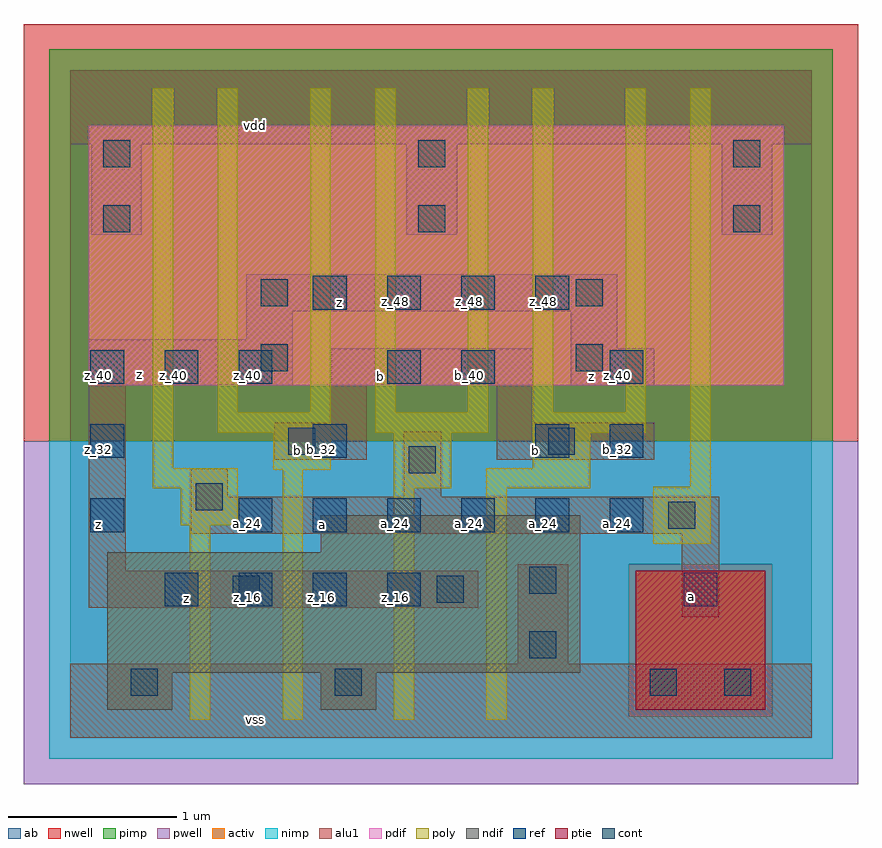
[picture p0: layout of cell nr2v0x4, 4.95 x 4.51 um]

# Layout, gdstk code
import gdstk
lib = gdstk.Library(unit=1e-6, precision=2.5e-09)
def R(c, l, rs):  # rectangles x0, y0, x1, y1
    for r in rs: c.add(gdstk.rectangle(r[:2], r[2:], *l))
def A(c, l, x, y, w, h, nx, ny, dx, dy):  # array of equal rectangles
    R(c, l, [(x+i*dx, y+j*dy, x+i*dx+w, y+j*dy+h) for i in range(nx) for j in range(ny)])
ndif = (3, 0)
pdif = (4, 0)
ptie = (6, 0)
ref = (24, 0)
cont = (25, 0)
pwell = (41, 0)
nwell = (42, 0)
activ = (43, 0)
pimp = (44, 0)
nimp = (45, 0)
poly = (46, 0)
alu1 = (49, 0)
ab = (63, 0)

nr2v0x4 = lib.new_cell('nr2v0x4')
R(nr2v0x4, ndif, [(0.22,0.165,0.605,0.385), (1.485,0.165,1.815,0.385), (0.22,0.385,3.025,1.1), (1.485,1.1,3.025,1.32)])
R(nr2v0x4, pdif, [(0.11,2.09,4.235,3.63)])
R(nr2v0x4, ptie, [(3.355,0.165,4.125,0.99)])
A(nr2v0x4, ref, 0.56, 0.78, 0.2, 0.2, 4, 1, 0.44, 0)
A(nr2v0x4, ref, 1, 1.22, 0.2, 0.2, 6, 1, 0.44, 0)
A(nr2v0x4, ref, 0.12, 1.66, 0.2, 0.2, 3, 1, 1.32, 0)
A(nr2v0x4, ref, 0.12, 2.1, 0.2, 0.2, 3, 1, 0.44, 0)
A(nr2v0x4, ref, 1.44, 2.54, 0.2, 0.2, 4, 1, 0.44, 0)
R(nr2v0x4, ref, [(3.64,0.78,3.84,0.98), (0.12,1.22,0.32,1.42), (3.2,1.66,3.4,1.86), (1.88,2.1,2.08,2.3), (2.32,2.1,2.52,2.3), (3.2,2.1,3.4,2.3)])
A(nr2v0x4, cont, 0.195, 3, 0.16, 0.16, 3, 2, 1.87, 0.385)
R(nr2v0x4, cont, [(0.36,0.25,0.52,0.41), (1.57,0.25,1.73,0.41), (3.44,0.25,3.6,0.41), (3.88,0.25,4.04,0.41), (2.725,0.47,2.885,0.63), (0.965,0.8,1.125,0.96), (2.175,0.8,2.335,0.96), (2.725,0.855,2.885,1.015), (3.55,1.24,3.71,1.4), (0.745,1.35,0.905,1.51), (2.01,1.57,2.17,1.73), (1.295,1.68,1.455,1.84), (2.835,1.68,2.995,1.84), (1.13,2.175,1.29,2.335), (3,2.175,3.16,2.335), (1.13,2.56,1.29,2.72), (3,2.56,3.16,2.72)])
R(nr2v0x4, pwell, [(-0.275,-0.275,4.675,1.76)])
R(nr2v0x4, nwell, [(-0.275,1.76,4.675,4.235)])
R(nr2v0x4, activ, [(0.22,0.165,0.605,0.385), (1.485,0.165,1.815,0.385), (3.355,0.165,4.125,0.99), (0.22,0.385,3.025,1.1), (1.485,1.1,3.025,1.32), (0.11,2.09,4.235,3.63)])
R(nr2v0x4, pimp, [(3.315,0.125,4.165,1.03), (-0.125,1.76,4.525,4.085)])
R(nr2v0x4, nimp, [(-0.125,-0.125,4.525,0.125), (-0.125,0.125,3.315,1.03), (4.165,0.125,4.525,1.03), (-0.125,1.03,4.525,1.76)])
A(nr2v0x4, poly, 0.875, 1.81, 0.67, 0.12, 3, 1, 0.935, 0)
R(nr2v0x4, poly, [(0.71,0.105,0.83,1.26), (1.26,0.105,1.38,1.59), (1.92,0.105,2.04,1.48), (2.47,0.105,2.59,1.48), (3.46,1.15,3.8,1.49), (0.655,1.26,0.995,1.48), (0.49,1.48,0.995,1.6), (1.92,1.48,2.26,1.81), (2.47,1.48,3.085,1.6), (3.68,1.49,3.8,3.855), (1.205,1.59,1.545,1.81), (0.49,1.6,0.61,3.855), (2.745,1.6,3.085,1.81), (0.875,1.93,0.995,3.855), (1.425,1.93,1.545,3.855), (1.81,1.93,1.93,3.855), (2.36,1.93,2.48,3.855), (2.745,1.93,2.865,3.855), (3.295,1.93,3.415,3.855)])
A(nr2v0x4, alu1, 0.125, 2.985, 0.3, 0.535, 3, 1, 1.87, 0)
R(nr2v0x4, alu1, [(0,0,4.4,0.44), (2.655,0.44,2.955,1.03), (3.63,0.715,3.85,1.21), (0.11,0.77,2.42,0.99), (0.11,0.99,0.33,2.09), (0.715,1.21,3.85,1.43), (0.715,1.43,0.935,1.595), (1.98,1.43,2.2,1.815), (1.21,1.65,1.76,1.87), (2.53,1.65,3.465,1.87), (1.54,1.87,1.76,2.09), (2.53,1.87,2.75,2.09), (0.11,2.09,1.32,2.365), (1.54,2.09,2.75,2.31), (2.97,2.09,3.465,2.31), (2.97,2.31,3.245,2.53), (1.045,2.365,1.32,2.53), (1.045,2.53,3.245,2.75), (0,3.52,4.4,3.96)])
R(nr2v0x4, ab, [(0,0,4.4,3.96)])
nr2v0x4.add(gdstk.Label('vss', (1.1,0.11), layer=49, texttype=0))
nr2v0x4.add(gdstk.Label('a', (3.685,0.8375), layer=49, texttype=0))
nr2v0x4.add(gdstk.Label('z', (0.6875,0.825), layer=49, texttype=0))
nr2v0x4.add(gdstk.Label('a', (1.4975,1.265), layer=49, texttype=0))
nr2v0x4.add(gdstk.Label('b', (2.7625,1.705), layer=49, texttype=0))
nr2v0x4.add(gdstk.Label('b', (1.3475,1.705), layer=49, texttype=0))
nr2v0x4.add(gdstk.Label('z', (0.165,1.265), layer=49, texttype=0))
nr2v0x4.add(gdstk.Label('z', (3.0925,2.145), layer=49, texttype=0))
nr2v0x4.add(gdstk.Label('b', (1.8425,2.145), layer=49, texttype=0))
nr2v0x4.add(gdstk.Label('z', (0.4125,2.1575), layer=49, texttype=0))
nr2v0x4.add(gdstk.Label('z', (1.595,2.585), layer=49, texttype=0))
nr2v0x4.add(gdstk.Label('vdd', (1.1,3.63), layer=49, texttype=0))
nr2v0x4.add(gdstk.Label('z_16', (0.61,0.83), layer=24, texttype=0))
nr2v0x4.add(gdstk.Label('z_40', (0.61,2.15), layer=24, texttype=0))
nr2v0x4.add(gdstk.Label('z_16', (1.05,0.83), layer=24, texttype=0))
nr2v0x4.add(gdstk.Label('a_24', (1.05,1.27), layer=24, texttype=0))
nr2v0x4.add(gdstk.Label('z_40', (1.05,2.15), layer=24, texttype=0))
nr2v0x4.add(gdstk.Label('z_16', (1.49,0.83), layer=24, texttype=0))
nr2v0x4.add(gdstk.Label('a_24', (1.49,1.27), layer=24, texttype=0))
nr2v0x4.add(gdstk.Label('b_32', (1.49,1.71), layer=24, texttype=0))
nr2v0x4.add(gdstk.Label('z_48', (1.49,2.59), layer=24, texttype=0))
nr2v0x4.add(gdstk.Label('z_16', (1.93,0.83), layer=24, texttype=0))
nr2v0x4.add(gdstk.Label('a_24', (1.93,1.27), layer=24, texttype=0))
nr2v0x4.add(gdstk.Label('b_40', (1.93,2.15), layer=24, texttype=0))
nr2v0x4.add(gdstk.Label('z_48', (1.93,2.59), layer=24, texttype=0))
nr2v0x4.add(gdstk.Label('z_24', (0.17,1.27), layer=24, texttype=0))
nr2v0x4.add(gdstk.Label('z_32', (0.17,1.71), layer=24, texttype=0))
nr2v0x4.add(gdstk.Label('z_40', (0.17,2.15), layer=24, texttype=0))
nr2v0x4.add(gdstk.Label('a_24', (2.37,1.27), layer=24, texttype=0))
nr2v0x4.add(gdstk.Label('b_40', (2.37,2.15), layer=24, texttype=0))
nr2v0x4.add(gdstk.Label('z_48', (2.37,2.59), layer=24, texttype=0))
nr2v0x4.add(gdstk.Label('a_24', (2.81,1.27), layer=24, texttype=0))
nr2v0x4.add(gdstk.Label('b_32', (2.81,1.71), layer=24, texttype=0))
nr2v0x4.add(gdstk.Label('z_48', (2.81,2.59), layer=24, texttype=0))
nr2v0x4.add(gdstk.Label('a_24', (3.25,1.27), layer=24, texttype=0))
nr2v0x4.add(gdstk.Label('b_32', (3.25,1.71), layer=24, texttype=0))
nr2v0x4.add(gdstk.Label('z_40', (3.25,2.15), layer=24, texttype=0))
nr2v0x4.add(gdstk.Label('a_16', (3.69,0.83), layer=24, texttype=0))

lib.write_gds('nr2v0x4.gds')
